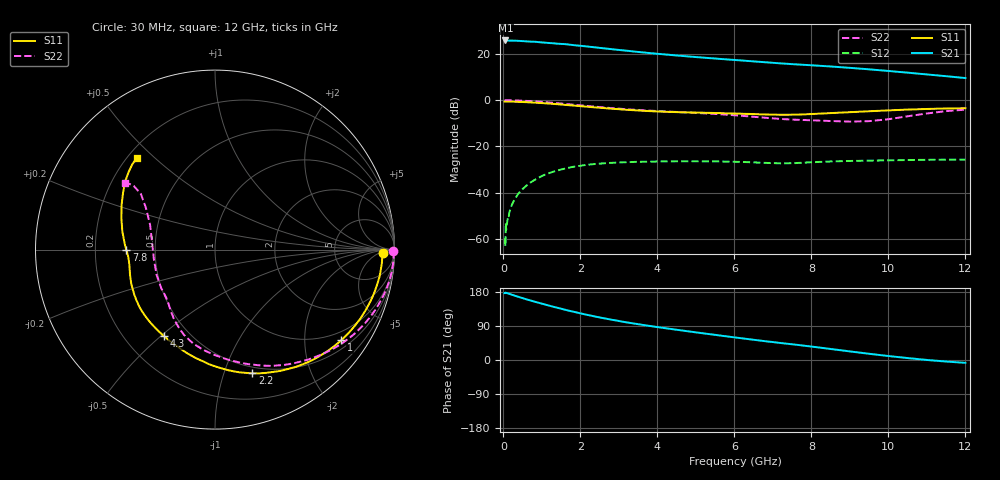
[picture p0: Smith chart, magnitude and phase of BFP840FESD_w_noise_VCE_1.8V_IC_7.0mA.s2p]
! Infineon Technologies  Discrete & RF Semiconductors
! BFP840FESD
! VCE =  1.8 V,  IC =  7.0 mA
! Common Emitter S-Parameters:  May 2012
# GHz  S  MA  R  50
!  f  S11  S21  S12  S22
! GHz  MAG  ANG  MAG  ANG  MAG  ANG  MAG  ANG
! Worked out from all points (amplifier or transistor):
!   103 points, 30 MHz to 12 GHz, reference 50 ohm
!   highest |S21| = 25.8 dB at 50 MHz (marker M1)
!   |S21| within 3 dB of that: start of sweep to 2.39 GHz
!   unconditionally stable (mu >= 1): 6.764 GHz to end of sweep
!   at 400 MHz: K = 0.06, MSG = 32.9 dB, |S12| = -40.1 dB
!   at 3.7 GHz: K = 0.43, MSG = 23.6 dB, |S12| = -26.6 dB
!   at 12 GHz: K = 1.21, MAG = 14.9 dB, |S12| = -25.7 dB
!   lowest NFmin = 0.59 dB at 450 MHz
!   S11 on the Smith chart (normalised r, x): 30 MHz: 27, -8; 1 GHz: 0.73, -2.94; 2.2 GHz: 0.44, -1.25; 4.3 GHz: 0.36, -0.51; 7.8 GHz: 0.34, -0.00; 12 GHz: 0.24, +0.44
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0.03  0.9339 -1.1  19.47 176.6  0.001 79.3  0.9919 -0.6
0.04  0.9337 -1.4  19.47 176.4  0.001 80.5  0.9932 -0.9
0.05  0.932 -1.8  19.55 177.7  0.0007 92.0  0.994 -1.1
0.06  0.9343 -2.2  19.48 177.4  0.0022 98.9  0.9952 -1.4
0.2  0.9302 -7.4  19.37 172.9  0.005 80.2  0.9936 -5.9
0.4  0.9199 -14.7  19.14 166.3  0.0099 80.0  0.9824 -11.9
0.6  0.9051 -21.8  18.68 160.0  0.0143 75.4  0.9647 -17.6
1  0.8662 -35.7  17.73 148.6  0.023 66.1  0.9185 -28.8
1.6  0.7928 -55.6  16.3 132.6  0.0333 53.6  0.832 -44.7
2.1  0.732 -70.4  14.7 120.8  0.0394 44.3  0.7602 -57.1
2.2  0.7204 -73.2  14.4 118.6  0.0404 42.7  0.7472 -59.4
2.6  0.6767 -83.6  13.23 110.3  0.0432 36.8  0.6977 -67.9
3.1  0.6273 -95.7  11.98 101.0  0.0454 31.1  0.6468 -77.2
3.6  0.593 -106.5  10.83 92.9  0.0467 26.4  0.6071 -85.4
4.1  0.5674 -116.7  9.902 85.5  0.0475 22.8  0.5772 -92.7
4.3  0.5595 -120.8  9.576 82.6  0.0477 21.4  0.5663 -95.5
5.1  0.5376 -135.6  8.432 71.6  0.0478 17.3  0.526 -105.4
6.1  0.5115 -152.5  7.303 58.4  0.0465 13.6  0.4657 -117.4
7.8  0.494 -179.8  5.814 37.9  0.0448 18.6  0.3733 -140.7
8.5  0.5261 168.9  5.355 29.1  0.0474 18.9  0.3548 -156.4
10.5  0.6269 143.2  3.936 5.1  0.0509 17.9  0.4493 148.9
12  0.6716 130.5  3.009 -7.5  0.0519 19.5  0.6252 143.3
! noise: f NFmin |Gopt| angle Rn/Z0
0.45  0.59  0.44  5  0.15
0.9  0.62  0.42  12  0.16
1.5  0.64  0.38  18  0.15
1.9  0.65  0.34  26  0.15
2.4  0.67  0.32  33  0.15
3.5  0.68  0.31  55  0.15
5.5  0.75  0.21  94  0.12
8  0.89  0.18  153  0.11
10  1.04  0.24  -145  0.11
12  1.25  0.41  -120  0.13
